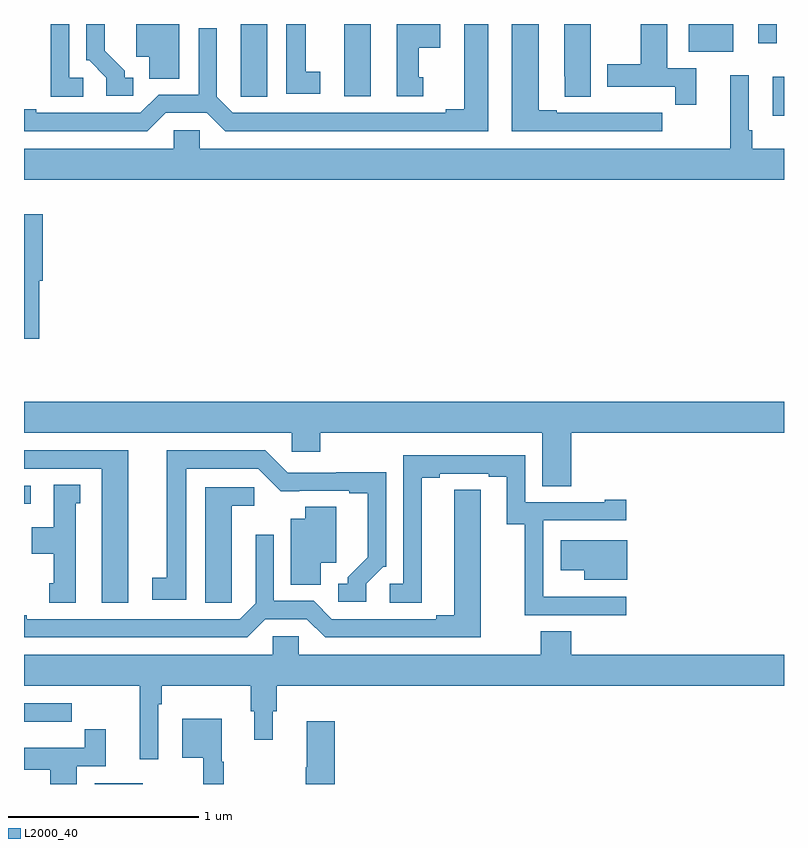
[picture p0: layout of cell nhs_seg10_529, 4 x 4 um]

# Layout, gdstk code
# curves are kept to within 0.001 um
import gdstk
lib = gdstk.Library(unit=1e-6, precision=1e-09)
def R(c, l, rs):  # rectangles x0, y0, x1, y1
    for r in rs: c.add(gdstk.rectangle(r[:2], r[2:], *l))
def P(c, l, *ps):  # polygons
    for p in ps: c.add(gdstk.Polygon(p, *l))
L2000_40 = (2000, 40)

nhs_seg10_529 = lib.new_cell('nhs_seg10_529')
R(nhs_seg10_529, L2000_40, [(137.372,1266.5,137.626,1266.505), (137,1267.974,137.035,1268.07), (140.942,1270.016,141,1270.222), (138.686,1270.119,138.826,1270.5), (140.498,1270.355,140.734,1270.5), (140.864,1270.398,140.961,1270.5)])
P(nhs_seg10_529, L2000_40, [(137.311,1270.218),(137.238,1270.218),(137.238,1270.5),(137.141,1270.5),(137.141,1270.117),(137.311,1270.117)],
  [(140.537,1270.266),(140.386,1270.266),(140.386,1270.5),(140.246,1270.5),(140.246,1270.287),(140.069,1270.287),(140.069,1270.17),(140.428,1270.17),(140.428,1270.074),(140.537,1270.074)],
  [(139.102,1270.221),(139.078,1270.221),(139.078,1270.376),(139.192,1270.376),(139.192,1270.5),(138.962,1270.5),(138.962,1270.119),(139.102,1270.119)],
  [(137.818,1270.5),(137.591,1270.5),(137.591,1270.328),(137.66,1270.328),(137.66,1270.213),(137.818,1270.213)],
  [(140.359,1270.032),(140.246,1270.032),(140.246,1270.033),(140.08,1270.033),(140.08,1270.032),(139.804,1270.032),(139.804,1270.047),(139.708,1270.047),(139.708,1270.5),(139.568,1270.5),(139.568,1269.936),(140.359,1269.936)],
  [(139.984,1270.5),(139.844,1270.5),(139.844,1270.225),(139.845,1270.225),(139.845,1270.117),(139.984,1270.117)],
  [(138.559,1270.25),(138.484,1270.25),(138.484,1270.5),(138.38,1270.5),(138.38,1270.134),(138.559,1270.134)],
  [(137.745,1270.032),(137.963,1270.032),(138.059,1269.936),(139.444,1269.936),(139.444,1270.5),(139.316,1270.5),(139.316,1270.052),(139.22,1270.052),(139.22,1270.032),(138.099,1270.032),(138.015,1270.116),(138.015,1270.477),(137.919,1270.477),(137.919,1270.128),(137.709,1270.128),(137.613,1270.032),(137.065,1270.032),(137.065,1270.052),(137,1270.052),(137,1269.936),(137.649,1269.936)],
  [(137.575,1270.218),(137.53,1270.218),(137.53,1270.253),(137.425,1270.358),(137.425,1270.5),(137.328,1270.5),(137.328,1270.308),(137.343,1270.308),(137.433,1270.218),(137.433,1270.122),(137.575,1270.122)],
  [(138.28,1270.5),(138.14,1270.5),(138.14,1270.225),(138.141,1270.225),(138.141,1270.117),(138.28,1270.117)],
  [(141,1269.844),(140.834,1269.844),(140.834,1269.94),(140.814,1269.94),(140.814,1270.231),(140.717,1270.231),(140.717,1269.844),(137.925,1269.844),(137.925,1269.942),(137.787,1269.942),(137.787,1269.844),(137,1269.844),(137,1269.68),(141,1269.68)],
  [(137.081,1269.15),(137.099,1269.15),(137.099,1269.499),(137,1269.499),(137,1268.844),(137.081,1268.844)],
  [(139.88,1268.348),(141,1268.348),(141,1268.512),(137,1268.512),(137,1268.348),(138.408,1268.348),(138.408,1268.25),(138.56,1268.25),(138.56,1268.348),(139.727,1268.348),(139.727,1268.068),(139.88,1268.068)],
  [(138.801,1267.554),(138.891,1267.644),(138.906,1267.644),(138.906,1268.141),(138.643,1268.141),(138.643,1268.139),(138.387,1268.139),(138.27,1268.256),(137.75,1268.256),(137.75,1267.586),(137.676,1267.586),(137.676,1267.47),(137.854,1267.47),(137.854,1268.16),(138.234,1268.16),(138.352,1268.042),(138.713,1268.043),(138.713,1268.031),(138.809,1268.031),(138.809,1267.694),(138.704,1267.589),(138.704,1267.554),(138.654,1267.554),(138.654,1267.458),(138.801,1267.458)],
  [(137.548,1268.256),(137,1268.256),(137,1268.16),(137.408,1268.16),(137.408,1267.455),(137.548,1267.455)],
  [(140.17,1267.485),(139.736,1267.485),(139.736,1267.486),(139.734,1267.486),(139.734,1267.887),(140.17,1267.887),(140.17,1267.996),(140.057,1267.996),(140.057,1267.983),(139.638,1267.983),(139.638,1268.229),(138.996,1268.229),(138.996,1267.554),(138.924,1267.554),(138.924,1267.453),(139.093,1267.453),(139.093,1268.113),(139.189,1268.113),(139.189,1268.133),(139.445,1268.133),(139.445,1268.118),(139.541,1268.118),(139.541,1267.867),(139.636,1267.867),(139.636,1267.389),(140.17,1267.389)],
  [(137.272,1267.977),(137.296,1267.977),(137.296,1268.075),(137.156,1268.075),(137.156,1267.852),(137.042,1267.852),(137.042,1267.712),(137.156,1267.712),(137.156,1267.557),(137.132,1267.557),(137.132,1267.455),(137.272,1267.455)],
  [(138.093,1267.561),(138.094,1267.561),(138.094,1267.964),(138.211,1267.964),(138.211,1268.061),(137.954,1268.061),(137.954,1267.453),(138.093,1267.453)],
  [(138.271,1267.368),(138.489,1267.368),(138.585,1267.272),(139.405,1267.272),(139.404,1268.048),(139.265,1268.048),(139.265,1267.388),(139.169,1267.388),(139.169,1267.368),(138.621,1267.368),(138.525,1267.464),(138.315,1267.464),(138.315,1267.813),(138.219,1267.813),(138.219,1267.452),(138.135,1267.368),(137.014,1267.368),(137.014,1267.388),(137,1267.388),(137,1267.272),(138.175,1267.272)],
  [(138.562,1267.664),(138.643,1267.664),(138.643,1267.958),(138.479,1267.958),(138.479,1267.897),(138.404,1267.897),(138.404,1267.549),(138.562,1267.549)],
  [(140.176,1267.783),(139.824,1267.783),(139.824,1267.625),(139.949,1267.625),(139.949,1267.574),(140.176,1267.574)],
  [(137.706,1266.92),(137.726,1266.92),(137.726,1267.016),(138.193,1267.016),(138.193,1266.882),(138.212,1266.882),(138.212,1266.732),(138.31,1266.732),(138.31,1266.882),(138.329,1266.882),(138.329,1267.016),(141,1267.016),(141,1267.18),(139.88,1267.18),(139.88,1267.304),(139.72,1267.304),(139.72,1267.18),(138.447,1267.18),(138.447,1267.278),(138.309,1267.278),(138.309,1267.18),(137,1267.18),(137,1267.016),(137.609,1267.016),(137.609,1266.63),(137.706,1266.63)],
  [(137.138,1266.828),(137.251,1266.828),(137.251,1266.924),(137,1266.924),(137,1266.827),(137.138,1266.827)],
  [(138.052,1266.618),(138.04,1266.618),(138.04,1266.844),(137.834,1266.844),(137.834,1266.638),(137.943,1266.638),(137.943,1266.5),(138.052,1266.5)],
  [(138.635,1266.829),(138.488,1266.829),(138.488,1266.589),(138.482,1266.589),(138.482,1266.5),(138.635,1266.5)],
  [(137.278,1266.594),(137.429,1266.594),(137.429,1266.787),(137.32,1266.787),(137.32,1266.69),(137,1266.69),(137,1266.574),(137.138,1266.574),(137.138,1266.5),(137.278,1266.5)])

lib.write_gds('nhs_seg10_529.gds')
